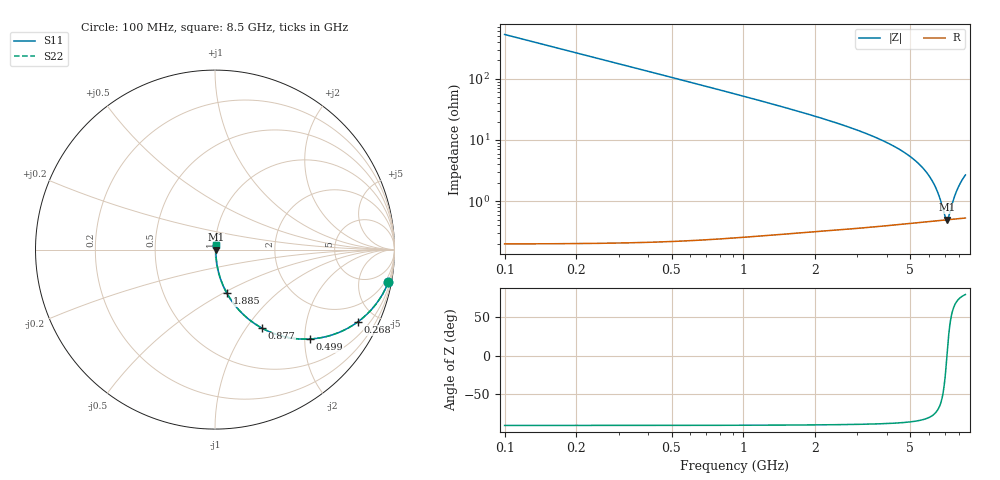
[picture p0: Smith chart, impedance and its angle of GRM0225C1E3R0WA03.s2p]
!Murata Part Number: GRM0225C1E3R0WA03
!These Parameters are Measured in Series Mode Connection
!Data Generated on Mar 30, 2021
!  o--ll--o
!Port1  Port2
!  o------o
!Operation Temp=25[degC], DC Bias Voltage=0[V]
!Freq. Start=100[MHz] Stop=9[GHz] 401[Steps]
# Hz S RI R 50
!Freq.(Hz) S11(Real) S11(Imag) S21(Real) S21(Imag) S12(Real) S12(Imag) S22(Real) S22(Imag)
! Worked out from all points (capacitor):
!   401 points, 100 MHz to 8.5 GHz, reference 50 ohm
!   read as one part in series: C = 3 pF near 142 MHz
!   lowest |Z| = 496 mohm at 7.114 GHz (marker M1)
!   series resonance near 7.114 GHz, so ESL is about 170 pH
!   S11 on the Smith chart (normalised r, x): 100 MHz: 1, -11; 268 MHz: 1.00, -3.95; 499 MHz: 1.00, -2.11; 877 MHz: 1.00, -1.19; 1.885 GHz: 1.01, -0.52; 8.5 GHz: 1.01, +0.05
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1e8  0.9656 -0.182  0.0344 0.182  0.0344 0.182  0.9656 -0.182
2.05e8  0.8697 -0.3363  0.1303 0.3363  0.1303 0.3363  0.8697 -0.3363
2.68e8  0.7959 -0.4025  0.2041 0.4025  0.2041 0.4025  0.7959 -0.4025
3.73e8  0.6676 -0.4703  0.3324 0.4703  0.3324 0.4703  0.6676 -0.4703
4.99e8  0.5278 -0.4982  0.4722 0.4982  0.4722 0.4982  0.5278 -0.4982
6.88e8  0.3685 -0.4809  0.6315 0.4809  0.6315 0.4809  0.3685 -0.4809
8.77e8  0.2623 -0.4378  0.7377 0.4378  0.7377 0.4378  0.2623 -0.4378
1.15e9  0.1689 -0.3717  0.8311 0.3717  0.8311 0.3717  0.1689 -0.3717
1.507e9  0.1032 -0.2999  0.8968 0.2999  0.8968 0.2999  0.1032 -0.2999
1.885e9  0.0662 -0.2428  0.9338 0.2428  0.9338 0.2428  0.0662 -0.2428
2.914e9  0.0255 -0.1463  0.9745 0.1463  0.9745 0.1463  0.0255 -0.1463
4.3e9  0.00998 -0.0765  0.99 0.0765  0.99 0.0765  0.00998 -0.0765
5.707e9  0.00559 -0.0324  0.9944 0.0324  0.9944 0.0324  0.00559 -0.0324
6.4e9  0.00498 -0.0155  0.995 0.0155  0.995 0.0155  0.00498 -0.0155
6.652e9  0.0049 -0.0098  0.9951 0.0098  0.9951 0.0098  0.0049 -0.0098
6.988e9  0.00491 -0.00261  0.9951 0.00261  0.9951 0.00261  0.00491 -0.00261
7.114e9  0.00493 -9.2e-06  0.9951 9.2e-06  0.9951 9.2e-06  0.00493 -9.2e-06
7.219e9  0.00496 0.00212  0.995 -0.00212  0.995 -0.00212  0.00496 0.00212
7.555e9  0.00512 0.00874  0.9949 -0.00874  0.9949 -0.00874  0.00512 0.00874
7.807e9  0.00529 0.0135  0.9947 -0.0135  0.9947 -0.0135  0.00529 0.0135
8.143e9  0.00557 0.0197  0.9944 -0.0197  0.9944 -0.0197  0.00557 0.0197
8.5e9  0.00594 0.0259  0.9941 -0.0259  0.9941 -0.0259  0.00594 0.0259
